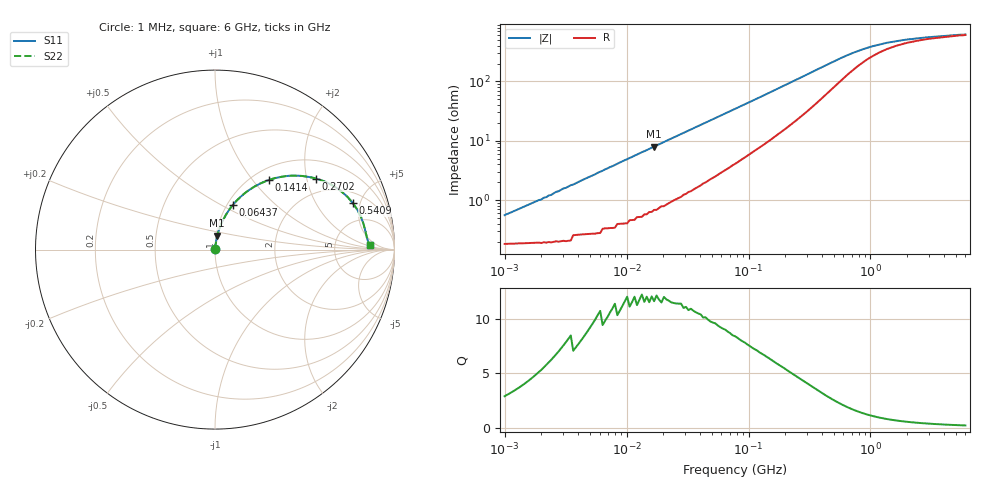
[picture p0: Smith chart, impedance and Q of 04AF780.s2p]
# MHz S MA R 50
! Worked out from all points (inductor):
!   189 points, 1 MHz to 6 GHz, reference 50 ohm
!   read as one part in series: L = 83.4 nH near 1.047 MHz
!   highest Q = 12 at 16.82 MHz (marker M1), where L = 75.2 nH
!   S11 on the Smith chart (normalised r, x): 1 MHz: 1.00, +0.01; 64.37 MHz: 1.06, +0.57; 141.4 MHz: 1.19, +1.22; 270.2 MHz: 1.52, +2.28; 540.9 MHz: 2.85, +4.30; 6 GHz: 13, +3
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1  0.005539 72.1  0.998 -0.3  0.998 -0.3  0.005539 72.1
2.002  0.01 78.8  0.998 -0.6  0.998 -0.6  0.01 78.8
2.097  0.011 79.1  0.998 -0.6  0.998 -0.6  0.011 79.1
2.409  0.012 79.9  0.998 -0.7  0.998 -0.7  0.012 79.9
2.643  0.014 80.4  0.998 -0.8  0.998 -0.8  0.014 80.4
2.768  0.014 80.6  0.998 -0.8  0.998 -0.8  0.014 80.6
3.036  0.016 81.0  0.998 -0.9  0.998 -0.9  0.016 81.0
4.396  0.022 82.1  0.997 -1.3  0.997 -1.3  0.022 82.1
16.822  0.079 80.6  0.99 -4.5  0.99 -4.5  0.079 80.6
18.454  0.086 80.2  0.989 -4.9  0.989 -4.9  0.086 80.2
38.693  0.172 74.7  0.969 -9.8  0.969 -9.8  0.172 74.7
64.371  0.269 68.1  0.934 -15.5  0.934 -15.5  0.269 68.1
77.46  0.314 65.0  0.913 -18.2  0.913 -18.2  0.314 65.0
141.361  0.492 52.1  0.799 -29.1  0.799 -29.1  0.492 52.1
195.437  0.595 43.8  0.704 -35.8  0.704 -35.8  0.595 43.8
270.198  0.688 35.1  0.589 -42.2  0.589 -42.2  0.688 35.1
340.538  0.742 29.0  0.503 -45.8  0.503 -45.8  0.742 29.0
540.917  0.811 18.5  0.347 -48.1  0.347 -48.1  0.811 18.5
942.517  0.839 10.1  0.228 -40.2  0.228 -40.2  0.839 10.1
1429.415  0.845 6.4  0.186 -30.6  0.186 -30.6  0.845 6.4
2861.584  0.853 3.2  0.155 -18.0  0.155 -18.0  0.853 3.2
6000  0.863 1.6  0.14 -10.0  0.14 -10.0  0.863 1.6
